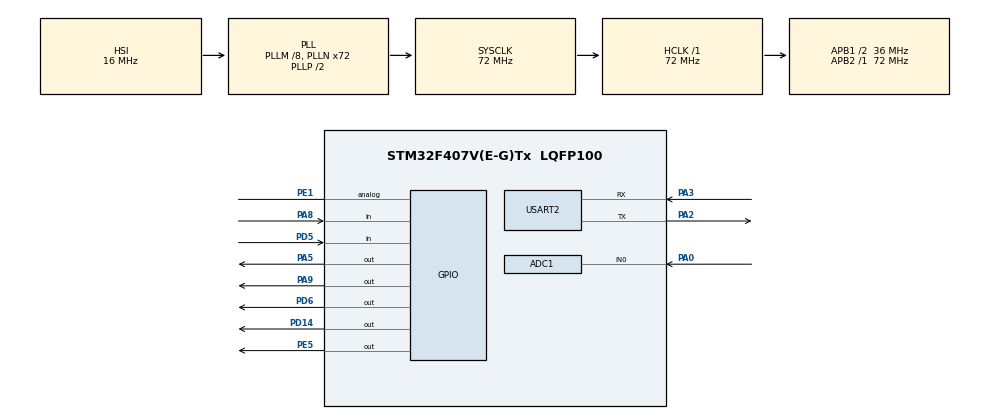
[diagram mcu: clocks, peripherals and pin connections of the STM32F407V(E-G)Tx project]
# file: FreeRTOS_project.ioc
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ADC1.Channel-1\#ChannelRegularConversion=ADC_CHANNEL_0
ADC1.NbrOfConversionFlag=1
ADC1.Rank-1\#ChannelRegularConversion=1
ADC1.SamplingTime-1\#ChannelRegularConversion=ADC_SAMPLETIME_3CYCLES
ADC1.master=1
FREERTOS.Tasks01=TaskDHT11,24,128,StartTaskDHT11,Default,NULL,Dynamic,NULL,NULL;TaskHC,40,128,StartTaskHC,Default,NULL,Dynamic,NULL,NULL;TaskRainSensor,25,128,StartTaskRainSensor,Default,NULL,Dynamic,NULL,NULL;TaskLED,8,128,StartTaskLED,Default,NULL,Dynamic,NULL,NULL
Mcu.Family=STM32F4
Mcu.Name=STM32F407V(E-G)Tx
Mcu.Package=LQFP100
NVIC.PriorityGroup=NVIC_PRIORITYGROUP_4
NVIC.TIM1_CC_IRQn=true\:5\:0\:false\:false\:true\:true\:true\:true\:true
NVIC.USART2_IRQn=true\:5\:0\:false\:false\:true\:true\:true\:true\:true
PA0-WKUP.Signal=ADCx_IN0
PA13.Mode=Serial_Wire
PA13.Signal=SYS_JTMS-SWDIO
PA14.Mode=Serial_Wire
PA14.Signal=SYS_JTCK-SWCLK
PA2.Mode=Asynchronous
PA2.Signal=USART2_TX
PA3.Mode=Asynchronous
PA3.Signal=USART2_RX
PA5.Signal=GPIO_Output
PA8.Signal=GPIO_Input
PA9.Signal=GPIO_Output
PD14.Signal=GPIO_Output
PD5.Signal=GPIO_Input
PD6.Signal=GPIO_Output
PE1.Signal=GPIO_Analog
PE5.Signal=GPIO_Output
PH0-OSC_IN.Mode=HSE-External-Oscillator
PH0-OSC_IN.Signal=RCC_OSC_IN
PH1-OSC_OUT.Mode=HSE-External-Oscillator
PH1-OSC_OUT.Signal=RCC_OSC_OUT
ProjectManager.HeapSize=0x200
ProjectManager.StackSize=0x400
ProjectManager.TargetToolchain=STM32CubeIDE
RCC.48MHZClocksFreq_Value=36000000
RCC.AHBFreq_Value=72000000
RCC.APB1CLKDivider=RCC_HCLK_DIV2
RCC.APB1Freq_Value=36000000
RCC.APB1TimFreq_Value=72000000
RCC.APB2Freq_Value=72000000
RCC.APB2TimFreq_Value=72000000
RCC.CortexFreq_Value=72000000
RCC.HCLKFreq_Value=72000000
RCC.HSE_VALUE=25000000
RCC.HSI_VALUE=16000000
RCC.LSE_VALUE=32768
RCC.PLLM=8
RCC.PLLN=72
RCC.SYSCLKFreq_VALUE=72000000
RCC.SYSCLKSource=RCC_SYSCLKSOURCE_PLLCLK
RCC.VCOOutputFreq_Value=144000000
SH.ADCx_IN0.0=ADC1_IN0,IN0
TIM1.Prescaler=71
TIM2.Period=65535
TIM2.Prescaler=71
USART2.VirtualMode=VM_ASYNC
VP_FREERTOS_VS_CMSIS_V2.Mode=CMSIS_V2
VP_TIM1_VS_ClockSourceINT.Mode=Internal
VP_TIM2_VS_ClockSourceINT.Mode=Internal
board=custom

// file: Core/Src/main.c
/* USER CODE BEGIN Header */
/**
  ******************************************************************************
  * @file           : main.c
  * @brief          : Main program body
  ******************************************************************************
  * @attention
  *
  * Copyright (c) 2024 STMicroelectronics.
  * All rights reserved.
  *
  * This software is licensed under terms that can be found in the LICENSE file
  * in the root directory of this software component.
  * If no LICENSE file comes with this software, it is provided AS-IS.
  *
  ******************************************************************************
  */
/* USER CODE END Header */
#include "main.h"
#include "cmsis_os.h"

/* USER CODE BEGIN Includes */
#include "dht11.h"
#include <string.h>
#include <stdio.h>
/* USER CODE END Includes */

/* USER CODE BEGIN PD */
#define TRIG_PIN GPIO_PIN_6
#define TRIG_PORT GPIOD
#define ECHO_PIN GPIO_PIN_5
#define ECHO_PORT GPIOD
/* USER CODE END PD */

ADC_HandleTypeDef hadc1;

TIM_HandleTypeDef htim1;
TIM_HandleTypeDef htim2;

UART_HandleTypeDef huart2;

/* Definitions for TaskDHT11 */
osThreadId_t TaskDHT11Handle;
const osThreadAttr_t TaskDHT11_attributes = {
  .name = "TaskDHT11",
  .stack_size = 128 * 4,
  .priority = (osPriority_t) osPriorityNormal,
};
/* Definitions for TaskHC */
osThreadId_t TaskHCHandle;
const osThreadAttr_t TaskHC_attributes = {
  .name = "TaskHC",
  .stack_size = 128 * 4,
  .priority = (osPriority_t) osPriorityLow,
};
/* Definitions for TaskRainSensor */
osThreadId_t TaskRainSensorHandle;
const osThreadAttr_t TaskRainSensor_attributes = {
  .name = "TaskRainSensor",
  .stack_size = 128 * 4,
  .priority = (osPriority_t) osPriorityLow,
};
/* USER CODE BEGIN PV */
uint8_t RHI, RHD, TCI, TCD, SUM;
uint32_t pMillis;
uint32_t Value1 = 0;
uint32_t Value2 = 0;
uint16_t Distance  = 0;
uint16_t rainSensor =0;

/* USER CODE END PV */

void SystemClock_Config(void);
static void MX_GPIO_Init(void);
static void MX_TIM1_Init(void);
static void MX_USART2_UART_Init(void);
static void MX_TIM2_Init(void);
static void MX_ADC1_Init(void);
void StartTaskDHT11(void *argument);
void StartTaskHC(void *argument);
void StartTaskRainSensor(void *argument);

int main(void)
{

  /* MCU Configuration--------------------------------------------------------*/

  /* Reset of all peripherals, Initializes the Flash interface and the Systick. */
  HAL_Init();

  /* Configure the system clock */
  SystemClock_Config();

  /* Initialize all configured peripherals */
  MX_GPIO_Init();
  MX_TIM1_Init();
  MX_USART2_UART_Init();
  MX_TIM2_Init();
  MX_ADC1_Init();
  /* USER CODE BEGIN 2 */
  HAL_TIM_Base_Start(&htim1);
  HAL_ADC_Start(&hadc1);
  HAL_GPIO_WritePin(TRIG_PORT, TRIG_PIN, GPIO_PIN_RESET);
  /* USER CODE END 2 */

  /* Init scheduler */
  osKernelInitialize();

  /* Create the thread(s) */
  /* creation of TaskDHT11 */
  TaskDHT11Handle = osThreadNew(StartTaskDHT11, NULL, &TaskDHT11_attributes);

  /* creation of TaskHC */
  TaskHCHandle = osThreadNew(StartTaskHC, NULL, &TaskHC_attributes);

  /* creation of TaskRainSensor */
  TaskRainSensorHandle = osThreadNew(StartTaskRainSensor, NULL, &TaskRainSensor_attributes);

  /* Start scheduler */
  osKernelStart();

  /* We should never get here as control is now taken by the scheduler */
  /* Infinite loop */
  while (1)
  {

  }
}

void SystemClock_Config(void)
{
  RCC_OscInitTypeDef RCC_OscInitStruct = {0};
  RCC_ClkInitTypeDef RCC_ClkInitStruct = {0};

  /** Configure the main internal regulator output voltage
  */
  __HAL_RCC_PWR_CLK_ENABLE();
  __HAL_PWR_VOLTAGESCALING_CONFIG(PWR_REGULATOR_VOLTAGE_SCALE1);

  /** Initializes the RCC Oscillators according to the specified parameters
  * in the RCC_OscInitTypeDef structure.
  */
  RCC_OscInitStruct.OscillatorType = RCC_OSCILLATORTYPE_HSI;
  RCC_OscInitStruct.HSIState = RCC_HSI_ON;
  RCC_OscInitStruct.HSICalibrationValue = RCC_HSICALIBRATION_DEFAULT;
  RCC_OscInitStruct.PLL.PLLState = RCC_PLL_ON;
  RCC_OscInitStruct.PLL.PLLSource = RCC_PLLSOURCE_HSI;
  RCC_OscInitStruct.PLL.PLLM = 8;
  RCC_OscInitStruct.PLL.PLLN = 72;
  RCC_OscInitStruct.PLL.PLLP = RCC_PLLP_DIV2;
  RCC_OscInitStruct.PLL.PLLQ = 4;
  if (HAL_RCC_OscConfig(&RCC_OscInitStruct) != HAL_OK)
  {
    Error_Handler();
  }

  /** Initializes the CPU, AHB and APB buses clocks
  */
  RCC_ClkInitStruct.ClockType = RCC_CLOCKTYPE_HCLK|RCC_CLOCKTYPE_SYSCLK
                              |RCC_CLOCKTYPE_PCLK1|RCC_CLOCKTYPE_PCLK2;
  RCC_ClkInitStruct.SYSCLKSource = RCC_SYSCLKSOURCE_PLLCLK;
  RCC_ClkInitStruct.AHBCLKDivider = RCC_SYSCLK_DIV1;
  RCC_ClkInitStruct.APB1CLKDivider = RCC_HCLK_DIV2;
  RCC_ClkInitStruct.APB2CLKDivider = RCC_HCLK_DIV1;

  if (HAL_RCC_ClockConfig(&RCC_ClkInitStruct, FLASH_LATENCY_2) != HAL_OK)
  {
    Error_Handler();
  }
}

static void MX_ADC1_Init(void)
{

  ADC_ChannelConfTypeDef sConfig = {0};

  /** Configure the global features of the ADC (Clock, Resolution, Data Alignment and number of conversion)
  */
  hadc1.Instance = ADC1;
  hadc1.Init.ClockPrescaler = ADC_CLOCK_SYNC_PCLK_DIV2;
  hadc1.Init.Resolution = ADC_RESOLUTION_12B;
  hadc1.Init.ScanConvMode = DISABLE;
  hadc1.Init.ContinuousConvMode = DISABLE;
  hadc1.Init.DiscontinuousConvMode = DISABLE;
  hadc1.Init.ExternalTrigConvEdge = ADC_EXTERNALTRIGCONVEDGE_NONE;
  hadc1.Init.ExternalTrigConv = ADC_SOFTWARE_START;
  hadc1.Init.DataAlign = ADC_DATAALIGN_RIGHT;
  hadc1.Init.NbrOfConversion = 1;
  hadc1.Init.DMAContinuousRequests = DISABLE;
  hadc1.Init.EOCSelection = ADC_EOC_SINGLE_CONV;
  if (HAL_ADC_Init(&hadc1) != HAL_OK)
  {
    Error_Handler();
  }

  /** Configure for the selected ADC regular channel its corresponding rank in the sequencer and its sample time.
  */
  sConfig.Channel = ADC_CHANNEL_0;
  sConfig.Rank = 1;
  sConfig.SamplingTime = ADC_SAMPLETIME_3CYCLES;
  if (HAL_ADC_ConfigChannel(&hadc1, &sConfig) != HAL_OK)
  {
    Error_Handler();
  }

}

static void MX_TIM1_Init(void)
{

  TIM_ClockConfigTypeDef sClockSourceConfig = {0};
  TIM_MasterConfigTypeDef sMasterConfig = {0};

  htim1.Instance = TIM1;
  htim1.Init.Prescaler = 71;
  htim1.Init.CounterMode = TIM_COUNTERMODE_UP;
  htim1.Init.Period = 65535;
  htim1.Init.ClockDivision = TIM_CLOCKDIVISION_DIV1;
  htim1.Init.RepetitionCounter = 0;
  htim1.Init.AutoReloadPreload = TIM_AUTORELOAD_PRELOAD_DISABLE;
  if (HAL_TIM_Base_Init(&htim1) != HAL_OK)
  {
    Error_Handler();
  }
  sClockSourceConfig.ClockSource = TIM_CLOCKSOURCE_INTERNAL;
  if (HAL_TIM_ConfigClockSource(&htim1, &sClockSourceConfig) != HAL_OK)
  {
    Error_Handler();
  }
  sMasterConfig.MasterOutputTrigger = TIM_TRGO_RESET;
  sMasterConfig.MasterSlaveMode = TIM_MASTERSLAVEMODE_DISABLE;
  if (HAL_TIMEx_MasterConfigSynchronization(&htim1, &sMasterConfig) != HAL_OK)
  {
    Error_Handler();
  }

}

static void MX_TIM2_Init(void)
{

  TIM_ClockConfigTypeDef sClockSourceConfig = {0};
  TIM_MasterConfigTypeDef sMasterConfig = {0};

  htim2.Instance = TIM2;
  htim2.Init.Prescaler = 71;
  htim2.Init.CounterMode = TIM_COUNTERMODE_UP;
  htim2.Init.Period = 4294967295;
  htim2.Init.ClockDivision = TIM_CLOCKDIVISION_DIV1;
  htim2.Init.AutoReloadPreload = TIM_AUTORELOAD_PRELOAD_DISABLE;
  if (HAL_TIM_Base_Init(&htim2) != HAL_OK)
  {
    Error_Handler();
  }
  sClockSourceConfig.ClockSource = TIM_CLOCKSOURCE_INTERNAL;
  if (HAL_TIM_ConfigClockSource(&htim2, &sClockSourceConfig) != HAL_OK)
  {
    Error_Handler();
  }
  sMasterConfig.MasterOutputTrigger = TIM_TRGO_RESET;
  sMasterConfig.MasterSlaveMode = TIM_MASTERSLAVEMODE_DISABLE;
  if (HAL_TIMEx_MasterConfigSynchronization(&htim2, &sMasterConfig) != HAL_OK)
  {
    Error_Handler();
  }

}

static void MX_USART2_UART_Init(void)
{

  huart2.Instance = USART2;
  huart2.Init.BaudRate = 115200;
  huart2.Init.WordLength = UART_WORDLENGTH_8B;
  huart2.Init.StopBits = UART_STOPBITS_1;
  huart2.Init.Parity = UART_PARITY_NONE;
  huart2.Init.Mode = UART_MODE_TX_RX;
  huart2.Init.HwFlowCtl = UART_HWCONTROL_NONE;
  huart2.Init.OverSampling = UART_OVERSAMPLING_16;
  if (HAL_UART_Init(&huart2) != HAL_OK)
  {
    Error_Handler();
  }

}

static void MX_GPIO_Init(void)
{
  GPIO_InitTypeDef GPIO_InitStruct = {0};

  /* GPIO Ports Clock Enable */
  __HAL_RCC_GPIOE_CLK_ENABLE();
  __HAL_RCC_GPIOH_CLK_ENABLE();
  __HAL_RCC_GPIOA_CLK_ENABLE();
  __HAL_RCC_GPIOD_CLK_ENABLE();

  /*Configure GPIO pin Output Level */
  HAL_GPIO_WritePin(GPIOE, GPIO_PIN_5, GPIO_PIN_RESET);

  /*Configure GPIO pin Output Level */
  HAL_GPIO_WritePin(GPIOA, GPIO_PIN_5|GPIO_PIN_9, GPIO_PIN_RESET);

  /*Configure GPIO pin Output Level */
  HAL_GPIO_WritePin(GPIOD, GPIO_PIN_6, GPIO_PIN_RESET);

  /*Configure GPIO pin : PE5 */
  GPIO_InitStruct.Pin = GPIO_PIN_5;
  GPIO_InitStruct.Mode = GPIO_MODE_OUTPUT_PP;
  GPIO_InitStruct.Pull = GPIO_NOPULL;
  GPIO_InitStruct.Speed = GPIO_SPEED_FREQ_LOW;
  HAL_GPIO_Init(GPIOE, &GPIO_InitStruct);

  /*Configure GPIO pins : PA5 PA9 */
  GPIO_InitStruct.Pin = GPIO_PIN_5|GPIO_PIN_9;
  GPIO_InitStruct.Mode = GPIO_MODE_OUTPUT_PP;
  GPIO_InitStruct.Pull = GPIO_NOPULL;
  GPIO_InitStruct.Speed = GPIO_SPEED_FREQ_LOW;
  HAL_GPIO_Init(GPIOA, &GPIO_InitStruct);

  /*Configure GPIO pin : PA8 */
  GPIO_InitStruct.Pin = GPIO_PIN_8;
  GPIO_InitStruct.Mode = GPIO_MODE_INPUT;
  GPIO_InitStruct.Pull = GPIO_NOPULL;
  HAL_GPIO_Init(GPIOA, &GPIO_InitStruct);

  /*Configure GPIO pin : PD5 */
  GPIO_InitStruct.Pin = GPIO_PIN_5;
  GPIO_InitStruct.Mode = GPIO_MODE_INPUT;
  GPIO_InitStruct.Pull = GPIO_NOPULL;
  HAL_GPIO_Init(GPIOD, &GPIO_InitStruct);

  /*Configure GPIO pin : PD6 */
  GPIO_InitStruct.Pin = GPIO_PIN_6;
  GPIO_InitStruct.Mode = GPIO_MODE_OUTPUT_PP;
  GPIO_InitStruct.Pull = GPIO_NOPULL;
  GPIO_InitStruct.Speed = GPIO_SPEED_FREQ_LOW;
  HAL_GPIO_Init(GPIOD, &GPIO_InitStruct);

  /*Configure GPIO pin : PE1 */
  GPIO_InitStruct.Pin = GPIO_PIN_1;
  GPIO_InitStruct.Mode = GPIO_MODE_ANALOG;
  GPIO_InitStruct.Pull = GPIO_NOPULL;
  HAL_GPIO_Init(GPIOE, &GPIO_InitStruct);

}

/* USER CODE BEGIN Header_StartTaskDHT11 */
/**
  * @brief  Function implementing the TaskDHT11 thread.
  * @param  argument: Not used
  * @retval None
  */
void StartTaskDHT11(void * argument)
{
  for(;;)
  {
    if (DHT11_Start())
    {
      RHI = DHT11_Read(); // Relative humidity integral
      RHD = DHT11_Read(); // Relative humidity decimal
      TCI = DHT11_Read(); // Celsius integral
      TCD = DHT11_Read(); // Celsius decimal
      SUM = DHT11_Read(); // Check sum

      char temp[32];
      char humi[32];

      sprintf(temp, "Temp:%d\n", TCI);
      sprintf(humi, "Humi:%d\n", RHI);
      HAL_UART_Transmit(&huart2, (uint8_t*)temp, strlen(temp), 1000);
      HAL_UART_Transmit(&huart2, (uint8_t*)humi, strlen(humi), 1000);
    }
    osDelay(2000);
  }
}
/* USER CODE END Header_StartTaskDHT11 */

void StartTaskHC(void *argument)
{
  /* USER CODE BEGIN StartTaskHC */
  /* Infinite loop */
  for(;;)
  {
	  HAL_GPIO_WritePin(TRIG_PORT, TRIG_PIN, GPIO_PIN_SET);  // pull the TRIG pin HIGH
	 __HAL_TIM_SET_COUNTER(&htim1, 0);
	 while (__HAL_TIM_GET_COUNTER (&htim1) < 10);  // wait for 10 us
	 HAL_GPIO_WritePin(TRIG_PORT, TRIG_PIN, GPIO_PIN_RESET);  // pull the TRIG pin low

	 pMillis = HAL_GetTick(); // used this to avoid infinite while loop  (for timeout)
	 	  	      // wait for the echo pin to go high
	 while (!(HAL_GPIO_ReadPin (ECHO_PORT, ECHO_PIN)) && pMillis + 10 >  HAL_GetTick());
	 Value1 = __HAL_TIM_GET_COUNTER (&htim1);

	 pMillis = HAL_GetTick(); // used this to avoid infinite while loop (for timeout)
	 	  	      // wait for the echo pin to go low
	 while ((HAL_GPIO_ReadPin (ECHO_PORT, ECHO_PIN)) && pMillis + 50 > HAL_GetTick());
	 Value2 = __HAL_TIM_GET_COUNTER (&htim1);

	 Distance = ((Value2-Value1)* 0.034)/2;
	 osDelay(2000);
	 char dis[32];
	 sprintf(dis, "Distance:%d\n", Distance);
	 HAL_UART_Transmit(&huart2, (uint8_t*)dis, strlen(dis), 1000);
  }
  /* USER CODE END StartTaskHC */
}

void StartTaskRainSensor(void *argument)
{
  /* USER CODE BEGIN StartTaskRainSensor */
  /* Infinite loop */
  for(;;)
  {
	  HAL_ADC_Start(&hadc1);
	  HAL_ADC_PollForConversion(&hadc1, 20);
	  rainSensor = HAL_ADC_GetValue(&hadc1);
  }
  /* USER CODE END StartTaskRainSensor */
}

void Error_Handler(void)
{
  __disable_irq();
  while (1)
  {
  }
}
